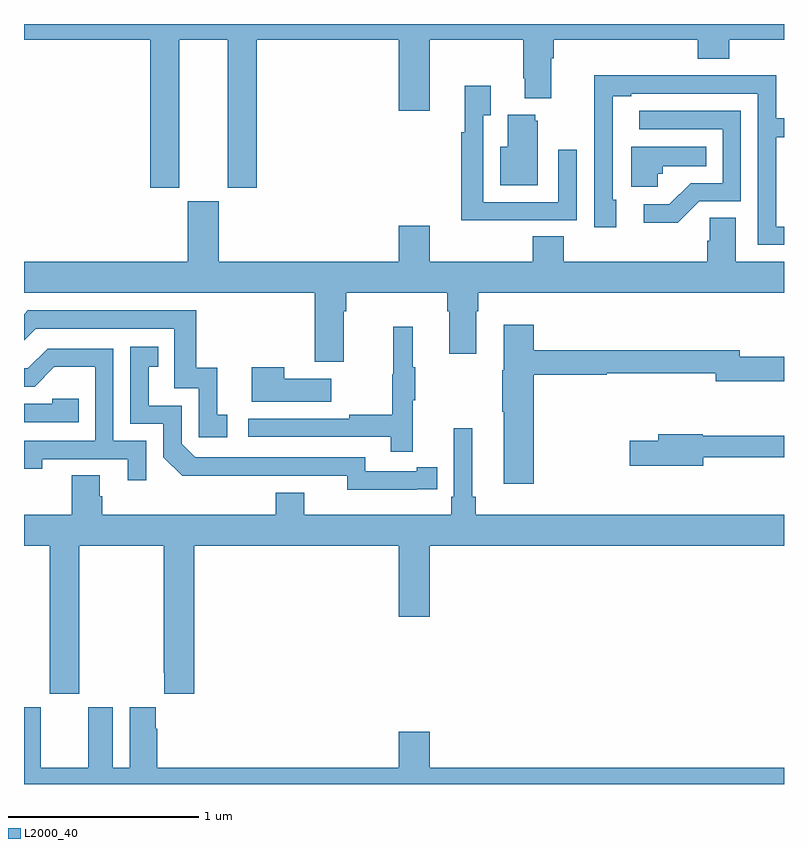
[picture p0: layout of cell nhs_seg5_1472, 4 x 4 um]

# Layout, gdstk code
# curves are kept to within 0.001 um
import gdstk
lib = gdstk.Library(unit=1e-6, precision=1e-09)
def P(c, l, *ps):  # polygons
    for p in ps: c.add(gdstk.Polygon(p, *l))
L2000_40 = (2000, 40)

nhs_seg5_1472 = lib.new_cell('nhs_seg5_1472')
P(nhs_seg5_1472, L2000_40, [(199.816,900.716),(200.072,900.716),(200.072,899.937),(200.225,899.937),(200.225,900.716),(200.972,900.716),(200.972,900.342),(201.136,900.342),(201.136,900.716),(201.628,900.716),(201.628,900.514),(201.635,900.514),(201.635,900.407),(201.775,900.407),(201.775,900.62),(201.788,900.62),(201.788,900.716),(202.547,900.716),(202.547,900.617),(202.712,900.617),(202.712,900.716),(203,900.716),(203,900.799),(199,900.799),(199,900.716),(199.664,900.716),(199.664,899.937),(199.816,899.937)],
  [(203,899.733),(202.959,899.733),(202.959,900.202),(203,900.202),(203,900.303),(202.959,900.303),(202.959,900.528),(202.463,900.528),(202.463,900.53),(202,900.53),(202,900.223),(202.002,900.223),(202.002,899.73),(202.117,899.73),(202.117,899.874),(202.098,899.874),(202.098,900.226),(202.099,900.226),(202.099,900.42),(202.195,900.42),(202.195,900.432),(202.863,900.432),(202.863,899.637),(203,899.637)],
  [(201.593,899.766),(201.909,899.766),(201.909,900.136),(201.813,900.136),(201.813,899.862),(201.417,899.862),(201.417,900.319),(201.457,900.319),(201.457,900.475),(201.32,900.475),(201.32,900.23),(201.301,900.23),(201.301,899.765),(201.593,899.765)],
  [(202.554,899.865),(202.773,899.865),(202.773,900.342),(202.239,900.342),(202.239,900.246),(202.677,900.246),(202.677,899.961),(202.508,899.961),(202.397,899.85),(202.263,899.85),(202.263,899.753),(202.441,899.753)],
  [(201.703,900.291),(201.692,900.291),(201.692,900.322),(201.545,900.322),(201.545,900.154),(201.506,900.154),(201.506,899.951),(201.703,899.951)],
  [(202.335,900.012),(202.362,900.012),(202.362,900.05),(202.592,900.05),(202.592,900.154),(202.196,900.154),(202.196,899.942),(202.335,899.942)],
  [(200.531,899.022),(200.683,899.022),(200.683,899.288),(200.696,899.288),(200.696,899.384),(201.227,899.384),(201.227,899.288),(201.239,899.288),(201.239,899.064),(201.379,899.064),(201.379,899.288),(201.392,899.288),(201.392,899.384),(203,899.384),(203,899.548),(202.747,899.548),(202.747,899.78),(202.608,899.78),(202.608,899.657),(202.595,899.657),(202.595,899.548),(201.842,899.548),(201.842,899.681),(201.677,899.681),(201.677,899.548),(201.136,899.548),(201.136,899.737),(200.972,899.737),(200.972,899.548),(200.026,899.548),(200.026,899.865),(199.862,899.865),(199.862,899.548),(199,899.548),(199,899.384),(200.531,899.384)],
  [(200.071,898.743),(200.018,898.743),(200.018,898.99),(199.907,898.99),(199.907,899.292),(199.02,899.292),(199,899.272),(199,899.134),(199.062,899.196),(199.791,899.196),(199.791,898.881),(199.92,898.881),(199.92,898.623),(200.071,898.623)],
  [(201.683,898.954),(202.066,898.954),(202.066,898.962),(202.64,898.962),(202.64,898.919),(203,898.919),(203,899.049),(202.768,899.049),(202.768,899.083),(201.683,899.083),(201.683,899.215),(201.524,899.215),(201.524,898.977),(201.517,898.977),(201.517,898.759),(201.524,898.759),(201.524,898.38),(201.683,898.38)],
  [(201.047,898.819),(201.058,898.819),(201.058,898.993),(201.047,898.993),(201.047,899.206),(200.944,899.206),(200.944,898.956),(200.937,898.956),(200.937,898.742),(200.713,898.742),(200.713,898.722),(200.181,898.722),(200.181,898.626),(200.929,898.626),(200.929,898.548),(201.047,898.548)],
  [(201.068,898.35),(201.176,898.35),(201.176,898.466),(201.068,898.466),(201.068,898.446),(200.796,898.446),(200.796,898.518),(199.902,898.518),(199.83,898.59),(199.83,898.791),(199.657,898.791),(199.657,898.995),(199.706,898.995),(199.706,899.101),(199.56,899.101),(199.56,898.695),(199.734,898.695),(199.734,898.518),(199.832,898.421),(200.7,898.422),(200.7,898.349)],
  [(199.644,898.605),(199.47,898.605),(199.47,899.091),(199.124,899.091),(199.019,898.986),(199,898.986),(199,898.89),(199.056,898.89),(199.16,898.994),(199.374,898.994),(199.374,898.605),(199,898.605),(199,898.458),(199.096,898.458),(199.096,898.509),(199.547,898.509),(199.547,898.398),(199.644,898.398)],
  [(200.617,898.933),(200.369,898.933),(200.369,898.993),(200.198,898.993),(200.198,898.811),(200.617,898.811)],
  [(199.289,898.827),(199.149,898.827),(199.149,898.8),(199,898.8),(199,898.704),(199.289,898.704)],
  [(200.476,898.333),(200.324,898.333),(200.324,898.216),(199.412,898.216),(199.412,898.314),(199.399,898.314),(199.399,898.424),(199.252,898.424),(199.252,898.216),(199,898.216),(199,898.052),(199.135,898.052),(199.135,897.273),(199.29,897.273),(199.29,898.052),(199.735,898.052),(199.735,897.385),(199.739,897.385),(199.739,897.273),(199.895,897.273),(199.895,898.052),(200.972,898.052),(200.972,897.678),(201.136,897.678),(201.136,898.052),(203,898.052),(203,898.216),(201.377,898.216),(201.377,898.312),(201.358,898.312),(201.358,898.672),(201.261,898.672),(201.261,898.312),(201.248,898.312),(201.248,898.216),(200.476,898.216)],
  [(202.576,898.518),(203,898.518),(203,898.631),(202.572,898.631),(202.572,898.639),(202.337,898.639),(202.337,898.605),(202.188,898.605),(202.188,898.475),(202.576,898.475)],
  [(203,896.884),(201.136,896.884),(201.136,897.073),(200.972,897.073),(200.972,896.884),(199.7,896.884),(199.7,897.089),(199.693,897.089),(199.693,897.202),(199.556,897.202),(199.556,896.884),(199.468,896.884),(199.468,897.202),(199.337,897.202),(199.337,896.884),(199.087,896.884),(199.087,897.202),(199,897.202),(199,896.799),(203,896.799)])

lib.write_gds('nhs_seg5_1472.gds')
